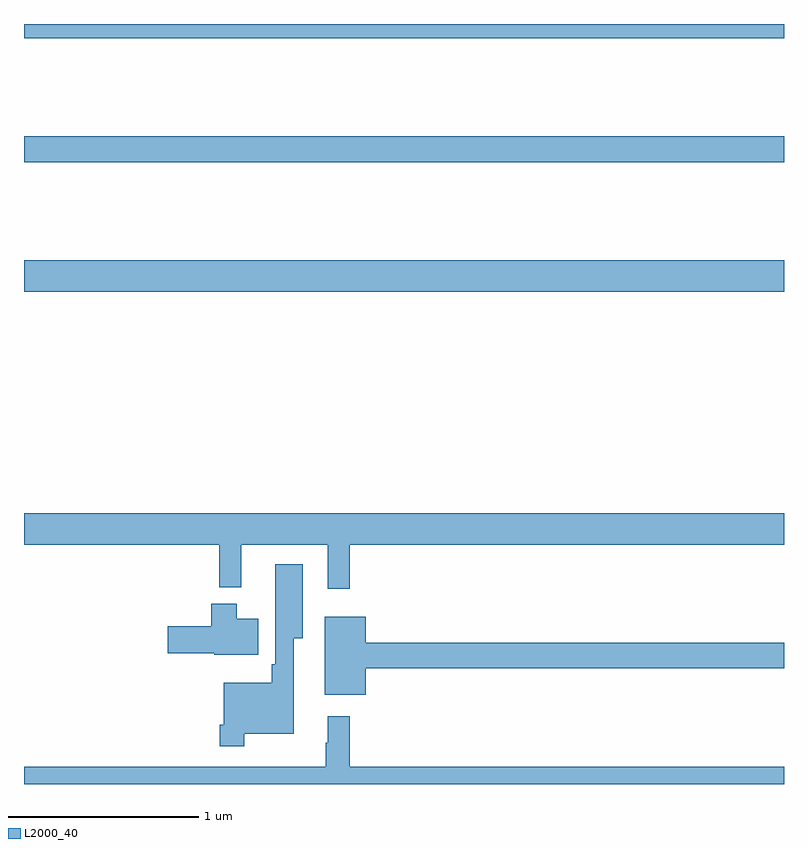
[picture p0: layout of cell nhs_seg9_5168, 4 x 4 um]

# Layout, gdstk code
import gdstk
lib = gdstk.Library(unit=1e-6, precision=1e-09)
def R(c, l, rs):  # rectangles x0, y0, x1, y1
    for r in rs: c.add(gdstk.rectangle(r[:2], r[2:], *l))
def P(c, l, *ps):  # polygons
    for p in ps: c.add(gdstk.Polygon(p, *l))
L2000_40 = (2000, 40)

nhs_seg9_5168 = lib.new_cell('nhs_seg9_5168')
R(nhs_seg9_5168, L2000_40, [(411,1191.092,415,1191.256), (411,1191.772,415,1191.908), (411,1192.424,415,1192.5)])
P(nhs_seg9_5168, L2000_40, [(412.715,1189.76),(415,1189.76),(415,1189.924),(411,1189.924),(411,1189.76),(412.027,1189.76),(412.027,1189.535),(412.144,1189.535),(412.144,1189.76),(412.598,1189.76),(412.598,1189.527),(412.715,1189.527)],
  [(412.159,1188.764),(412.42,1188.764),(412.42,1189.268),(412.468,1189.268),(412.468,1189.657),(412.322,1189.657),(412.322,1189.129),(412.303,1189.129),(412.303,1189.033),(412.05,1189.033),(412.05,1188.811),(412.03,1188.811),(412.03,1188.699),(412.159,1188.699)],
  [(412.234,1189.369),(412.12,1189.369),(412.12,1189.45),(411.986,1189.45),(411.986,1189.329),(411.756,1189.329),(411.756,1189.187),(412.002,1189.187),(412.002,1189.181),(412.234,1189.181)],
  [(412.798,1189.108),(415,1189.108),(415,1189.244),(412.798,1189.244),(412.798,1189.381),(412.583,1189.381),(412.583,1188.971),(412.798,1188.971)],
  [(415,1188.592),(412.715,1188.592),(412.715,1188.856),(412.598,1188.856),(412.598,1188.716),(412.587,1188.716),(412.587,1188.592),(411,1188.592),(411,1188.5),(415,1188.5)])

lib.write_gds('nhs_seg9_5168.gds')
